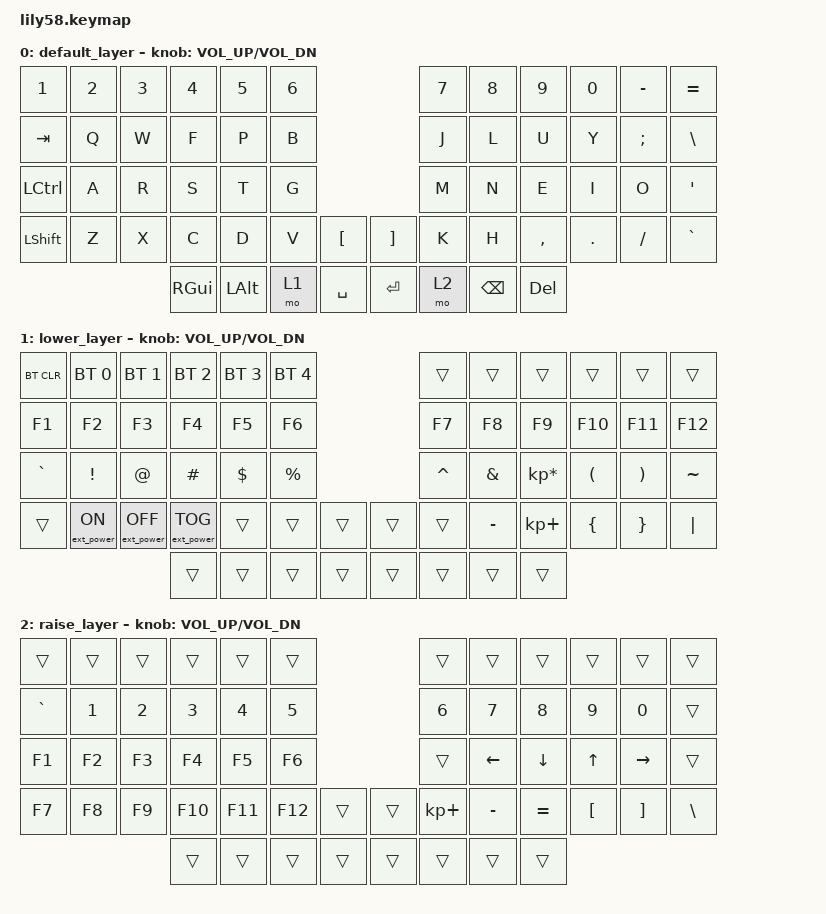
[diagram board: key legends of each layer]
/*
 * Copyright (c) 2020 The ZMK Contributors
 *
 * SPDX-License-Identifier: MIT
 */

#include <behaviors.dtsi>
#include <dt-bindings/zmk/keys.h>
#include <dt-bindings/zmk/bt.h>
#include <dt-bindings/zmk/ext_power.h>

/ {
    keymap {
        compatible = "zmk,keymap";

        default_layer {
// ------------------------------------------------------------------------------------------------------------
// |   1   |  2  |  3  |  4   |  5   |  6   |                   |  7   |  8    |  9    |  0   |   -   |   =   |
// |  TAB  |  Q  |  W  |  F   |  P   |  B   |                   |  J   |  L    |  U    |  Y   |   ;   |  BSLH |
// |  CTRL |  A  |  R  |  S   |  T   |  G   |                   |  M   |  N    |  E    |  I   |   O   |   '   |
// | SHIFT |  Z  |  X  |  C   |  D   |  V   |   "["  |  |  "]"  |  K   |  H    |  ,    |  .   |   /   |   `   |
//                     | RGUI | ALT  | LOWER|  SPACE |  | ENTER | RAISE| BSPC  | DEL   |
            bindings = <
&kp N1    &kp N2 &kp N3 &kp N4   &kp N5   &kp N6                     &kp N7 &kp N8   &kp N9    &kp N0  &kp MINUS &kp EQUAL
&kp TAB   &kp Q  &kp W  &kp F    &kp P    &kp B                      &kp J  &kp L    &kp U     &kp Y   &kp SEMI &kp BSLH
&kp LCTRL &kp A  &kp R  &kp S    &kp T    &kp G                      &kp M  &kp N    &kp E     &kp I   &kp O    &kp SQT
&kp LSHFT &kp Z  &kp X  &kp C    &kp D    &kp V  &kp LBKT   &kp RBKT &kp K  &kp H    &kp COMMA &kp DOT &kp FSLH &kp GRAVE
                        &kp RGUI &kp LALT &mo 1  &kp SPACE  &kp RET  &mo 2  &kp BSPC &kp DEL
            >;

            sensor-bindings = <&inc_dec_kp C_VOL_UP C_VOL_DN>;
        };

        lower_layer {
// ------------------------------------------------------------------------------------------------------------
// | BTCLR | BT1 | BT2 |  BT3 |  BT4 |  BT5 |                   |      |       |       |      |       |       |
// |  F1   |  F2 |  F3 |  F4  |  F5  |  F6  |                   |  F7  |  F8   |  F9   |  F10 |  F11  |  F12  |
// |   `   |  !  |  @  |  #   |  $   |  %   |                   |  ^   |  &    |  *    |  (   |   )   |   ~   |
// |       |     |     |      |      |      |        |  |       |      |  _    |  +    |  {   |   }   |  "|"  |
//                     |      |      |      |        |  |       |      |       |       |
            bindings = <
&bt BT_CLR &bt BT_SEL 0     &bt BT_SEL 1      &bt BT_SEL 2      &bt BT_SEL 3 &bt BT_SEL 4                 &trans    &trans    &trans          &trans    &trans    &trans
&kp F1     &kp F2           &kp F3            &kp F4            &kp F5       &kp F6                       &kp F7    &kp F8    &kp F9          &kp F10   &kp F11   &kp F12
&kp GRAVE  &kp EXCL         &kp AT            &kp HASH          &kp DOLLAR   &kp PRCNT                    &kp CARET &kp AMPS  &kp KP_MULTIPLY &kp LPAR  &kp RPAR  &kp TILDE
&trans     &ext_power EP_ON &ext_power EP_OFF &ext_power EP_TOG &trans       &trans    &trans   &trans    &trans    &kp MINUS &kp KP_PLUS     &kp LBRC  &kp RBRC  &kp PIPE
                                              &trans            &trans       &trans    &trans   &trans    &trans    &trans    &trans
            >;

            sensor-bindings = <&inc_dec_kp C_VOL_UP C_VOL_DN>;
        };

        raise_layer {
// ------------------------------------------------------------------------------------------------------------
// |       |     |     |      |      |      |                   |      |       |       |      |       |       |
// |   `   |  1  |  2  |  3   |  4   |  5   |                   |  6   |   7   |   8   |  9   |   0   |       |
// |   F1  |  F2 |  F3 |  F4  |  F5  |  F6  |                   |      |   <-  |   v   |  ^   |  ->   |       |
// |   F7  |  F8 |  F9 |  F10 |  F11 |  F12 |        |  |       |  +   |   -   |   =   |  [   |   ]   |   \   |
//                     |      |      |      |        |  |       |      |       |       |
            bindings = <
&trans    &trans &trans &trans  &trans  &trans                       &trans      &trans    &trans    &trans   &trans    &trans
&kp GRAVE &kp N1 &kp N2 &kp N3  &kp N4  &kp N5                       &kp N6      &kp N7    &kp N8    &kp N9   &kp N0    &trans
&kp F1    &kp F2 &kp F3 &kp F4  &kp F5  &kp F6                       &trans      &kp LEFT  &kp DOWN  &kp UP   &kp RIGHT &trans
&kp F7    &kp F8 &kp F9 &kp F10 &kp F11 &kp F12   &trans   &trans    &kp KP_PLUS &kp MINUS &kp EQUAL &kp LBKT &kp RBKT  &kp BSLH
                        &trans  &trans  &trans    &trans   &trans    &trans      &trans    &trans
            >;

            sensor-bindings = <&inc_dec_kp C_VOL_UP C_VOL_DN>;
        };
    };
};
